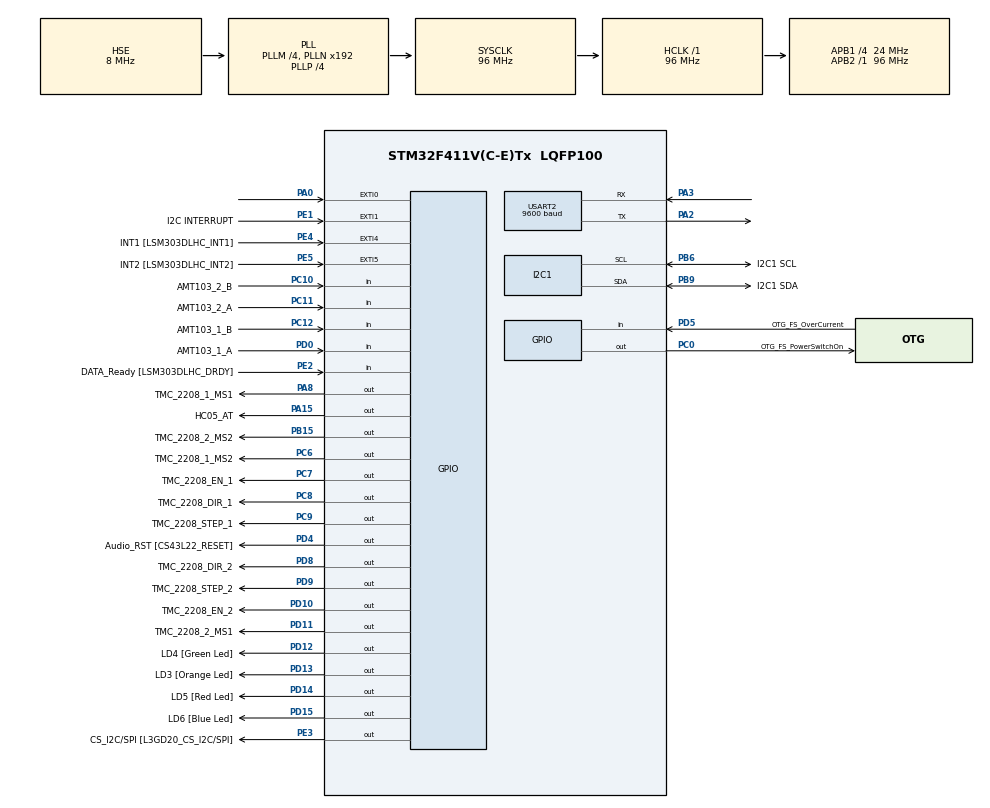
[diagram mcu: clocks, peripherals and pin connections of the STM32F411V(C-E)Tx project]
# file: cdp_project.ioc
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Mcu.Family=STM32F4
Mcu.Name=STM32F411V(C-E)Tx
Mcu.Package=LQFP100
NVIC.EXTI0_IRQn=true\:0\:0\:false\:false\:true\:true\:true\:true
NVIC.PriorityGroup=NVIC_PRIORITYGROUP_0
NVIC.USART2_IRQn=true\:0\:0\:false\:false\:true\:true\:true\:true
PA0-WKUP.GPIO_ModeDefaultEXTI=GPIO_MODE_IT_RISING
PA0-WKUP.Signal=GPXTI0
PA13.GPIO_Label=SWDIO
PA13.Mode=Serial_Wire
PA13.Signal=SYS_JTMS-SWDIO
PA14.GPIO_Label=SWCLK
PA14.Mode=Serial_Wire
PA14.Signal=SYS_JTCK-SWCLK
PA15.GPIO_Label=HC05_AT
PA15.Signal=GPIO_Output
PA2.Mode=Asynchronous
PA2.Signal=USART2_TX
PA3.Mode=Asynchronous
PA3.Signal=USART2_RX
PA8.GPIO_Label=TMC_2208_1_MS1
PA8.Signal=GPIO_Output
PB15.GPIO_Label=TMC_2208_2_MS2
PB15.Signal=GPIO_Output
PB3.GPIO_Label=SWO
PB3.Signal=SYS_JTDO-SWO
PB6.GPIO_Label=I2C1 SCL
PB6.GPIO_Mode=GPIO_MODE_AF_OD
PB6.GPIO_Pu=GPIO_PULLUP
PB6.GPIO_PuPd=GPIO_NOPULL
PB6.GPIO_Speed=GPIO_SPEED_FREQ_LOW
PB6.Mode=I2C
PB6.Signal=I2C1_SCL
PB9.GPIO_Label=I2C1 SDA
PB9.GPIO_Mode=GPIO_MODE_AF_OD
PB9.GPIO_Pu=GPIO_PULLUP
PB9.GPIO_PuPd=GPIO_NOPULL
PB9.GPIO_Speed=GPIO_SPEED_FREQ_LOW
PB9.Mode=I2C
PB9.Signal=I2C1_SDA
PC0.GPIO_Label=OTG_FS_PowerSwitchOn
PC0.PinState=GPIO_PIN_SET
PC0.Signal=GPIO_Output
PC10.GPIO_Label=AMT103_2_B
PC10.Signal=GPIO_Input
PC11.GPIO_Label=AMT103_2_A
PC11.Signal=GPIO_Input
PC12.GPIO_Label=AMT103_1_B
PC12.Signal=GPIO_Input
PC14-OSC32_IN.GPIO_Label=PC14-OSC32_IN
PC14-OSC32_IN.Mode=LSE-External-Oscillator
PC14-OSC32_IN.Signal=RCC_OSC32_IN
PC15-OSC32_OUT.GPIO_Label=PC15-OSC32_OUT
PC15-OSC32_OUT.Mode=LSE-External-Oscillator
PC15-OSC32_OUT.Signal=RCC_OSC32_OUT
PC6.GPIO_Label=TMC_2208_1_MS2
PC6.Signal=GPIO_Output
PC7.GPIO_Label=TMC_2208_EN_1
PC7.Signal=GPIO_Output
PC8.GPIO_Label=TMC_2208_DIR_1
PC8.Signal=GPIO_Output
PC9.GPIO_Label=TMC_2208_STEP_1
PC9.Signal=GPIO_Output
PD0.GPIO_Label=AMT103_1_A
PD0.Signal=GPIO_Input
PD10.GPIO_Label=TMC_2208_EN_2
PD10.Signal=GPIO_Output
PD11.GPIO_Label=TMC_2208_2_MS1
PD11.Signal=GPIO_Output
PD12.GPIO_Label=LD4 [Green Led]
PD12.GPIO_PuPd=GPIO_NOPULL
PD12.GPIO_Speed=GPIO_SPEED_FREQ_LOW
PD12.Signal=GPIO_Output
PD13.GPIO_Label=LD3 [Orange Led]
PD13.GPIO_PuPd=GPIO_NOPULL
PD13.GPIO_Speed=GPIO_SPEED_FREQ_LOW
PD13.Signal=GPIO_Output
PD14.GPIO_Label=LD5 [Red Led]
PD14.GPIO_PuPd=GPIO_NOPULL
PD14.GPIO_Speed=GPIO_SPEED_FREQ_LOW
PD14.Signal=GPIO_Output
PD15.GPIO_Label=LD6 [Blue Led]
PD15.GPIO_PuPd=GPIO_NOPULL
PD15.GPIO_Speed=GPIO_SPEED_FREQ_LOW
PD15.Signal=GPIO_Output
PD4.GPIO_Label=Audio_RST [CS43L22_RESET]
PD4.Signal=GPIO_Output
PD5.GPIO_Label=OTG_FS_OverCurrent
PD5.Signal=GPIO_Input
PD8.GPIO_Label=TMC_2208_DIR_2
PD8.Signal=GPIO_Output
PD9.GPIO_Label=TMC_2208_STEP_2
PD9.Signal=GPIO_Output
PE1.GPIO_Label=I2C INTERRUPT
PE1.GPIO_ModeDefaultEXTI=GPIO_MODE_EVT_RISING
PE1.Signal=GPXTI1
PE2.GPIO_Label=DATA_Ready [LSM303DLHC_DRDY]
PE2.Signal=GPIO_Input
PE3.GPIO_Label=CS_I2C/SPI [L3GD20_CS_I2C/SPI]
PE3.Signal=GPIO_Output
PE4.GPIO_Label=INT1 [LSM303DLHC_INT1]
PE4.GPIO_ModeDefaultEXTI=GPIO_MODE_EVT_RISING
PE4.Signal=GPXTI4
PE5.GPIO_Label=INT2 [LSM303DLHC_INT2]
PE5.GPIO_ModeDefaultEXTI=GPIO_MODE_EVT_RISING
PE5.Signal=GPXTI5
PH0\ -\ OSC_IN.GPIO_Label=PH0-OSC_IN
PH0\ -\ OSC_IN.Mode=HSE-External-Oscillator
PH0\ -\ OSC_IN.Signal=RCC_OSC_IN
PH1\ -\ OSC_OUT.GPIO_Label=PH1-OSC_OUT
PH1\ -\ OSC_OUT.Mode=HSE-External-Oscillator
PH1\ -\ OSC_OUT.Signal=RCC_OSC_OUT
ProjectManager.HeapSize=0x200
ProjectManager.StackSize=0x400
ProjectManager.TargetToolchain=STM32CubeIDE
RCC.48MHZClocksFreq_Value=48000000
RCC.AHBFreq_Value=96000000
RCC.APB1CLKDivider=RCC_HCLK_DIV4
RCC.APB1Freq_Value=24000000
RCC.APB1TimFreq_Value=48000000
RCC.APB2Freq_Value=96000000
RCC.APB2TimFreq_Value=96000000
RCC.CortexFreq_Value=96000000
RCC.HCLKFreq_Value=96000000
RCC.HSE_VALUE=8000000
RCC.HSI_VALUE=16000000
RCC.PLLI2SM=5
RCC.PLLI2SN=200
RCC.PLLM=4
RCC.PLLP=RCC_PLLP_DIV4
RCC.PLLQ=8
RCC.PLLSourceVirtual=RCC_PLLSOURCE_HSE
RCC.SYSCLKFreq_VALUE=96000000
RCC.SYSCLKSource=RCC_SYSCLKSOURCE_PLLCLK
RCC.VCOOutputFreq_Value=384000000
USART2.BaudRate=9600
USART2.VirtualMode=VM_ASYNC
board=STM32F411E-DISCO

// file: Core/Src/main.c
/* USER CODE BEGIN Header */
/**
  ******************************************************************************
  * @file           : main.c
  * @brief          : Main program body
  ******************************************************************************
  *
  ******************************************************************************
  */

/* USER CODE END Header */
#include "main.h"

I2C_HandleTypeDef hi2c1;

UART_HandleTypeDef huart2;

/* USER CODE BEGIN PV */

double accel[3] = {0, 0, 0}; 	// accelerometer values
double filtered[3] = {0, 0, 0}; // filtered values

uint8_t error_flag;	 // any error that the accelerometer might throw
ekf_t ekf;		// ekf object

uint32_t start, end, elapsed = 0; // using these to track loop execution time

double altitude, azimuth;	// globally defined variables for alt az so I can track

char debugMsg[100];			// variable to hold messages to be transmitted over UART
char command[RX_BUFFER_SIZE];	// rx buffer for interrupt reception
volatile uint32_t rxIndex = 0;	// variable representing what index the next UART byte goes to
volatile bool messageReady = false;	// when a message is ready, null terminate it, feed it
									// to HC05_ProcessCommand();

double BMA456_1_X_OFFSET = 0;
double BMA456_1_Y_OFFSET = 0;
double BMA456_1_Z_OFFSET = 0;

HC05_ModeStatus modeStatus = {MODE_CALIBRATION};	// current status of the telescope

/* USER CODE END PV */

void SystemClock_Config(void);
static void MX_GPIO_Init(void);
static void MX_I2C1_Init(void);
static void MX_USART2_UART_Init(void);
/* USER CODE BEGIN PFP */
void model(ekf_t*, double*);
void ekf_setup(ekf_t*);
void calculateAnglesFromAcceleration(const double accel[3], double *altitude, double *azimuth);
/* USER CODE END PFP */

int main(void)
{

  /* MCU Configuration--------------------------------------------------------*/

  /* Reset of all peripherals, Initializes the Flash interface and the Systick. */
  HAL_Init();

  /* Configure the system clock */
  SystemClock_Config();

  /* Initialize all configured peripherals */
  MX_GPIO_Init();
  MX_I2C1_Init();
  MX_USART2_UART_Init();
  /* USER CODE BEGIN 2 */

  BMA456_Startup(hi2c1);	// initializes the BMA456 accelerometer

  ekf_setup(&ekf);

  int increment = 0;

  HAL_UART_Receive_IT(&huart2, (uint8_t*) command, 1);

  /* USER CODE END 2 */

  /* Infinite loop */
  /* USER CODE BEGIN WHILE */
  while (1)
  {
	  start = HAL_GetTick();
	  // Based on modeStatus.currentMode, switch between different operational modes.
	  if(messageReady==true){
		  messageReady = false;
		  HC05_ProcessCommand(command, &modeStatus, &huart2);
	  }
	  switch(modeStatus.currentMode) {
	      case MODE_POINTING:
			 if(increment>=10000000){
				  sprintf(debugMsg, "Current mode: POINTING\r\nReference Vector: %f %f\r\n", modeStatus.altitude, modeStatus.azimuth);
				  HAL_UART_Transmit(&huart2, (uint8_t*)debugMsg, strlen(debugMsg), 100);
				  increment = 0;
	    	  	}
	          break;
	      case MODE_STANDBY:
				// Read acceleration data
				int16_t accelX, accelY, accelZ;
				BMA456_ReadAccelData(&accelX, &accelY, &accelZ, hi2c1);

				// Convert to double for calculation (assuming BMA456 scale is set for +-2g and 12-bit resolution)
				accel[0] = ((double)accelX / BMA456_FSR * 9.80665) - BMA456_1_X_OFFSET;
				accel[1] = ((double)accelY / BMA456_FSR * 9.80665) - BMA456_1_Y_OFFSET;
				accel[2] = ((double)accelZ / BMA456_FSR * 9.80665) - BMA456_1_Z_OFFSET;

				model(&ekf, accel);

				ekf_step(&ekf, accel);

				filtered[0] = ekf.x[0];
				filtered[1] = ekf.x[1];
				filtered[2] = ekf.x[2];
				// Calculate angles
				calculateAnglesFromAcceleration(filtered, &altitude, &azimuth);

				// Optionally, send these values over UART for debugging
	    	  	if(increment>=1500){
					sprintf(debugMsg, "Altitude: %f, Azimuth: %f\r\n", altitude, azimuth);
					HAL_UART_Transmit(&huart2, (uint8_t*)debugMsg, strlen(debugMsg), 100);
					increment = 0;
	    	  	}
	          break;
	      case MODE_CALIBRATION:
	    	  	increment = 0;
	    	  	while (increment < 10000) {
					increment++;
					int16_t accelX, accelY, accelZ;
					BMA456_ReadAccelData(&accelX, &accelY, &accelZ, hi2c1);

					// Convert to double for calculation (assuming BMA456 scale is set for +-2g and 12-bit resolution)
					accel[0] = ((double)accelX / BMA456_FSR * 9.80665);
					accel[1] = ((double)accelY / BMA456_FSR * 9.80665);
					accel[2] = ((double)accelZ / BMA456_FSR * 9.80665);

					model(&ekf, accel);

					ekf_step(&ekf, accel);

					filtered[0] = ekf.x[0];
					filtered[1] = ekf.x[1];
					filtered[2] = ekf.x[2];
	    	  	}
	    	  	BMA456_1_X_OFFSET = filtered[0] - 0;
	    	  	BMA456_1_Y_OFFSET = filtered[1] - 0;
	    	  	BMA456_1_Z_OFFSET = filtered[2] - 9.80556;
				sprintf(debugMsg, "Calibration complete...\r\n");
				HAL_UART_Transmit(&huart2, (uint8_t*)debugMsg, strlen(debugMsg), 100);
				modeStatus.currentMode = MODE_STANDBY;
	          break;
	      case MODE_HEALTH_CHECK:
	    	  	if(increment>=10000000){
					sprintf(debugMsg, "Current mode: HEALTH CHECK\r\n");
					HAL_UART_Transmit(&huart2, (uint8_t*)debugMsg, strlen(debugMsg), 100);
					increment = 0;
	    	  	}
	          break;
	      default:
				sprintf(debugMsg, "Failure to change modes.\r\n");
				HAL_UART_Transmit(&huart2, (uint8_t*)debugMsg, strlen(debugMsg), 100);
				increment = 0;
				error_flag = 16;
				Error_Handler();
	          break;
	  }
	  increment++;
	  end = HAL_GetTick();
	  elapsed = end - start;
    /* USER CODE END WHILE */

  }
}

void SystemClock_Config(void)
{
  RCC_OscInitTypeDef RCC_OscInitStruct = {0};
  RCC_ClkInitTypeDef RCC_ClkInitStruct = {0};

  /** Configure the main internal regulator output voltage
  */
  __HAL_RCC_PWR_CLK_ENABLE();
  __HAL_PWR_VOLTAGESCALING_CONFIG(PWR_REGULATOR_VOLTAGE_SCALE1);

  /** Initializes the RCC Oscillators according to the specified parameters
  * in the RCC_OscInitTypeDef structure.
  */
  RCC_OscInitStruct.OscillatorType = RCC_OSCILLATORTYPE_HSE;
  RCC_OscInitStruct.HSEState = RCC_HSE_ON;
  RCC_OscInitStruct.PLL.PLLState = RCC_PLL_ON;
  RCC_OscInitStruct.PLL.PLLSource = RCC_PLLSOURCE_HSE;
  RCC_OscInitStruct.PLL.PLLM = 4;
  RCC_OscInitStruct.PLL.PLLN = 192;
  RCC_OscInitStruct.PLL.PLLP = RCC_PLLP_DIV4;
  RCC_OscInitStruct.PLL.PLLQ = 8;
  if (HAL_RCC_OscConfig(&RCC_OscInitStruct) != HAL_OK)
  {
    Error_Handler();
  }

  /** Initializes the CPU, AHB and APB buses clocks
  */
  RCC_ClkInitStruct.ClockType = RCC_CLOCKTYPE_HCLK|RCC_CLOCKTYPE_SYSCLK
                              |RCC_CLOCKTYPE_PCLK1|RCC_CLOCKTYPE_PCLK2;
  RCC_ClkInitStruct.SYSCLKSource = RCC_SYSCLKSOURCE_PLLCLK;
  RCC_ClkInitStruct.AHBCLKDivider = RCC_SYSCLK_DIV1;
  RCC_ClkInitStruct.APB1CLKDivider = RCC_HCLK_DIV4;
  RCC_ClkInitStruct.APB2CLKDivider = RCC_HCLK_DIV1;

  if (HAL_RCC_ClockConfig(&RCC_ClkInitStruct, FLASH_LATENCY_3) != HAL_OK)
  {
    Error_Handler();
  }
}

static void MX_I2C1_Init(void)
{

  hi2c1.Instance = I2C1;
  hi2c1.Init.ClockSpeed = 100000;
  hi2c1.Init.DutyCycle = I2C_DUTYCYCLE_2;
  hi2c1.Init.OwnAddress1 = 0;
  hi2c1.Init.AddressingMode = I2C_ADDRESSINGMODE_7BIT;
  hi2c1.Init.DualAddressMode = I2C_DUALADDRESS_DISABLE;
  hi2c1.Init.OwnAddress2 = 0;
  hi2c1.Init.GeneralCallMode = I2C_GENERALCALL_DISABLE;
  hi2c1.Init.NoStretchMode = I2C_NOSTRETCH_DISABLE;
  if (HAL_I2C_Init(&hi2c1) != HAL_OK)
  {
    Error_Handler();
  }

}

static void MX_USART2_UART_Init(void)
{

  huart2.Instance = USART2;
  huart2.Init.BaudRate = 9600;
  huart2.Init.WordLength = UART_WORDLENGTH_8B;
  huart2.Init.StopBits = UART_STOPBITS_1;
  huart2.Init.Parity = UART_PARITY_NONE;
  huart2.Init.Mode = UART_MODE_TX_RX;
  huart2.Init.HwFlowCtl = UART_HWCONTROL_NONE;
  huart2.Init.OverSampling = UART_OVERSAMPLING_16;
  if (HAL_UART_Init(&huart2) != HAL_OK)
  {
    Error_Handler();
  }

}

static void MX_GPIO_Init(void)
{
  GPIO_InitTypeDef GPIO_InitStruct = {0};

  /* GPIO Ports Clock Enable */
  __HAL_RCC_GPIOE_CLK_ENABLE();
  __HAL_RCC_GPIOC_CLK_ENABLE();
  __HAL_RCC_GPIOH_CLK_ENABLE();
  __HAL_RCC_GPIOA_CLK_ENABLE();
  __HAL_RCC_GPIOB_CLK_ENABLE();
  __HAL_RCC_GPIOD_CLK_ENABLE();

  /*Configure GPIO pin Output Level */
  HAL_GPIO_WritePin(CS_I2C_SPI_GPIO_Port, CS_I2C_SPI_Pin, GPIO_PIN_RESET);

  /*Configure GPIO pin Output Level */
  HAL_GPIO_WritePin(OTG_FS_PowerSwitchOn_GPIO_Port, OTG_FS_PowerSwitchOn_Pin, GPIO_PIN_SET);

  /*Configure GPIO pin Output Level */
  HAL_GPIO_WritePin(TMC_2208_2_MS2_GPIO_Port, TMC_2208_2_MS2_Pin, GPIO_PIN_RESET);

  /*Configure GPIO pin Output Level */
  HAL_GPIO_WritePin(GPIOD, TMC_2208_DIR_2_Pin|TMC_2208_STEP_2_Pin|TMC_2208_EN_2_Pin|TMC_2208_2_MS1_Pin
                          |LD4_Pin|LD3_Pin|LD5_Pin|LD6_Pin
                          |Audio_RST_Pin, GPIO_PIN_RESET);

  /*Configure GPIO pin Output Level */
  HAL_GPIO_WritePin(GPIOC, TMC_2208_1_MS2_Pin|TMC_2208_EN_1_Pin|TMC_2208_DIR_1_Pin|TMC_2208_STEP_1_Pin, GPIO_PIN_RESET);

  /*Configure GPIO pin Output Level */
  HAL_GPIO_WritePin(GPIOA, TMC_2208_1_MS1_Pin|HC05_AT_Pin, GPIO_PIN_RESET);

  /*Configure GPIO pin : DATA_Ready_Pin */
  GPIO_InitStruct.Pin = DATA_Ready_Pin;
  GPIO_InitStruct.Mode = GPIO_MODE_INPUT;
  GPIO_InitStruct.Pull = GPIO_NOPULL;
  HAL_GPIO_Init(DATA_Ready_GPIO_Port, &GPIO_InitStruct);

  /*Configure GPIO pin : CS_I2C_SPI_Pin */
  GPIO_InitStruct.Pin = CS_I2C_SPI_Pin;
  GPIO_InitStruct.Mode = GPIO_MODE_OUTPUT_PP;
  GPIO_InitStruct.Pull = GPIO_NOPULL;
  GPIO_InitStruct.Speed = GPIO_SPEED_FREQ_LOW;
  HAL_GPIO_Init(CS_I2C_SPI_GPIO_Port, &GPIO_InitStruct);

  /*Configure GPIO pins : INT1_Pin INT2_Pin I2C_INTERRUPT_Pin */
  GPIO_InitStruct.Pin = INT1_Pin|INT2_Pin|I2C_INTERRUPT_Pin;
  GPIO_InitStruct.Mode = GPIO_MODE_EVT_RISING;
  GPIO_InitStruct.Pull = GPIO_NOPULL;
  HAL_GPIO_Init(GPIOE, &GPIO_InitStruct);

  /*Configure GPIO pins : OTG_FS_PowerSwitchOn_Pin TMC_2208_1_MS2_Pin TMC_2208_EN_1_Pin TMC_2208_DIR_1_Pin
                           TMC_2208_STEP_1_Pin */
  GPIO_InitStruct.Pin = OTG_FS_PowerSwitchOn_Pin|TMC_2208_1_MS2_Pin|TMC_2208_EN_1_Pin|TMC_2208_DIR_1_Pin
                          |TMC_2208_STEP_1_Pin;
  GPIO_InitStruct.Mode = GPIO_MODE_OUTPUT_PP;
  GPIO_InitStruct.Pull = GPIO_NOPULL;
  GPIO_InitStruct.Speed = GPIO_SPEED_FREQ_LOW;
  HAL_GPIO_Init(GPIOC, &GPIO_InitStruct);

  /*Configure GPIO pin : PA0 */
  GPIO_InitStruct.Pin = GPIO_PIN_0;
  GPIO_InitStruct.Mode = GPIO_MODE_IT_RISING;
  GPIO_InitStruct.Pull = GPIO_NOPULL;
  HAL_GPIO_Init(GPIOA, &GPIO_InitStruct);

  /*Configure GPIO pin : TMC_2208_2_MS2_Pin */
  GPIO_InitStruct.Pin = TMC_2208_2_MS2_Pin;
  GPIO_InitStruct.Mode = GPIO_MODE_OUTPUT_PP;
  GPIO_InitStruct.Pull = GPIO_NOPULL;
  GPIO_InitStruct.Speed = GPIO_SPEED_FREQ_LOW;
  HAL_GPIO_Init(TMC_2208_2_MS2_GPIO_Port, &GPIO_InitStruct);

  /*Configure GPIO pins : TMC_2208_DIR_2_Pin TMC_2208_STEP_2_Pin TMC_2208_EN_2_Pin TMC_2208_2_MS1_Pin
                           LD4_Pin LD3_Pin LD5_Pin LD6_Pin
                           Audio_RST_Pin */
  GPIO_InitStruct.Pin = TMC_2208_DIR_2_Pin|TMC_2208_STEP_2_Pin|TMC_2208_EN_2_Pin|TMC_2208_2_MS1_Pin
                          |LD4_Pin|LD3_Pin|LD5_Pin|LD6_Pin
                          |Audio_RST_Pin;
  GPIO_InitStruct.Mode = GPIO_MODE_OUTPUT_PP;
  GPIO_InitStruct.Pull = GPIO_NOPULL;
  GPIO_InitStruct.Speed = GPIO_SPEED_FREQ_LOW;
  HAL_GPIO_Init(GPIOD, &GPIO_InitStruct);

  /*Configure GPIO pins : TMC_2208_1_MS1_Pin HC05_AT_Pin */
  GPIO_InitStruct.Pin = TMC_2208_1_MS1_Pin|HC05_AT_Pin;
  GPIO_InitStruct.Mode = GPIO_MODE_OUTPUT_PP;
  GPIO_InitStruct.Pull = GPIO_NOPULL;
  GPIO_InitStruct.Speed = GPIO_SPEED_FREQ_LOW;
  HAL_GPIO_Init(GPIOA, &GPIO_InitStruct);

  /*Configure GPIO pins : AMT103_2_B_Pin AMT103_2_A_Pin AMT103_1_B_Pin */
  GPIO_InitStruct.Pin = AMT103_2_B_Pin|AMT103_2_A_Pin|AMT103_1_B_Pin;
  GPIO_InitStruct.Mode = GPIO_MODE_INPUT;
  GPIO_InitStruct.Pull = GPIO_NOPULL;
  HAL_GPIO_Init(GPIOC, &GPIO_InitStruct);

  /*Configure GPIO pins : AMT103_1_A_Pin OTG_FS_OverCurrent_Pin */
  GPIO_InitStruct.Pin = AMT103_1_A_Pin|OTG_FS_OverCurrent_Pin;
  GPIO_InitStruct.Mode = GPIO_MODE_INPUT;
  GPIO_InitStruct.Pull = GPIO_NOPULL;
  HAL_GPIO_Init(GPIOD, &GPIO_InitStruct);

  /* EXTI interrupt init*/
  HAL_NVIC_SetPriority(EXTI0_IRQn, 0, 0);
  HAL_NVIC_EnableIRQ(EXTI0_IRQn);

}

/* USER CODE BEGIN 4 */

/**
  * @brief EKF Initialization function.
  * @param ekf_t* ekf : ekf object defined in tiny_ekf_struct.h
  * @retval None
  */
void ekf_setup(ekf_t* ekf){

    // Initialize the EKF here
    ekf_init(ekf, Nsta, Mobs);

    // Set initial state estimates (e.g., to 0 if unknown)
    for (int i = 0; i < Nsta; ++i) {
        ekf->x[i] = 0.0;
    }

    // Define initial process noise covariance matrix Q
    double q = 0.01; // example process noise variance
    for (int i = 0; i < Nsta; ++i) {
        ekf->Q[i][i] = q;
    }

    // Define initial measurement noise covariance matrix R
    double r = 0.02; // example measurement noise variance
    for (int i = 0; i < Mobs; ++i) {
        ekf->R[i][i] = r;
    }
}
/**
  * @brief Creates state model for EKF.
  * @param ekf_t* ekf : ekf object defined in tiny_ekf_struct.h
  * @param double* z : input measurements
  * @retval None
  */
void model(ekf_t* ekf, double* z) {
    // Assuming direct measurement of acceleration for simplicity

    // State transition function f(x)
    for (int i = 0; i < Nsta; ++i) {
        ekf->fx[i] = ekf->x[i]; // Simple model: next state is equal to current state
    }

    // Measurement function h(x)
    for (int i = 0; i < Mobs; ++i) {
        ekf->hx[i] = ekf->x[i]; // Direct observation: measurement equals state
    }

    // F and H Jacobian matrices
    for (int i = 0; i < Nsta; ++i) {
        for (int j = 0; j < Nsta; ++j) {
            ekf->F[i][j] = (i == j) ? 1 : 0; // Identity matrix for F
        }
    }

    for (int i = 0; i < Mobs; ++i) {
        for (int j = 0; j < Nsta; ++j) {
            ekf->H[i][j] = (i == j) ? 1 : 0; // Identity matrix for H
        }
    }
}
/**
 * @brief Calculates alt az from accel data
 * @param double accelX, accelY, accelZ: formatted accelerometer data in m/s^2
 * @param double* altitude, azimuth: pointers that point to the variables where the results will be stored
 */
void calculateAnglesFromAcceleration(const double accel[3], double *altitude, double *azimuth) {
	double accelX = accel[0];
	double accelY = accel[1];
	double accelZ = accel[2];
    *altitude = atan2(accelY, sqrt(accelX * accelX + accelZ * accelZ)) * 180.0 / M_PI;
    *azimuth = atan2(accelX, accelZ) * 180.0 / M_PI;
}
/**
 * @brief Retrieves data that was recorded from the interrupt
 */
void HAL_UART_RxCpltCallback(UART_HandleTypeDef *huart) {

	if (command[rxIndex] == '\n') { // Assuming '\n' as the delimiter
		messageReady = true; // A complete message is ready
		command[rxIndex] = '\0'; // Null-terminate the message
		rxIndex = 0; // Reset index for next message
	} else {
		rxIndex++; // Prepare for next character
		if (rxIndex >= RX_BUFFER_SIZE) {
			rxIndex = 0; // Prevent buffer overflow
		}
	}
	// Re-enable UART receive interrupt for next byte
	HAL_UART_Receive_IT(huart, (uint8_t*)&command[rxIndex], 1);

}
/* USER CODE END 4 */

void Error_Handler(void)
{
  /* USER CODE BEGIN Error_Handler_Debug */
	HAL_GPIO_WritePin(GPIOD, GPIO_PIN_15, GPIO_PIN_RESET);
	HAL_GPIO_WritePin(GPIOD, GPIO_PIN_14, GPIO_PIN_RESET);
	HAL_GPIO_WritePin(GPIOD, GPIO_PIN_13, GPIO_PIN_RESET);
	HAL_GPIO_WritePin(GPIOD, GPIO_PIN_12, GPIO_PIN_RESET);

  /* Turns on all the on-board LEDs if there is a critical error */
	if (error_flag == 1){
		HAL_GPIO_WritePin(GPIOD, GPIO_PIN_15, GPIO_PIN_SET);
	} else if (error_flag == 2){
		HAL_GPIO_WritePin(GPIOD, GPIO_PIN_14, GPIO_PIN_SET);
	} else if (error_flag == 4){
		HAL_GPIO_WritePin(GPIOD, GPIO_PIN_13, GPIO_PIN_SET);
	} else if (error_flag == 8){
		HAL_GPIO_WritePin(GPIOD, GPIO_PIN_12, GPIO_PIN_SET);
	} else if (error_flag == 16){
		HAL_GPIO_WritePin(GPIOD, GPIO_PIN_12, GPIO_PIN_SET);
		HAL_GPIO_WritePin(GPIOD, GPIO_PIN_13, GPIO_PIN_SET);
	} else {
		HAL_GPIO_WritePin(GPIOD, GPIO_PIN_15, GPIO_PIN_SET);
		HAL_GPIO_WritePin(GPIOD, GPIO_PIN_14, GPIO_PIN_SET);
		HAL_GPIO_WritePin(GPIOD, GPIO_PIN_13, GPIO_PIN_SET);
		HAL_GPIO_WritePin(GPIOD, GPIO_PIN_12, GPIO_PIN_SET);
	}

  HAL_Delay(10000); // 10 seconds pass and the controller resets
  HAL_NVIC_SystemReset();

  /* USER CODE END Error_Handler_Debug */
}
